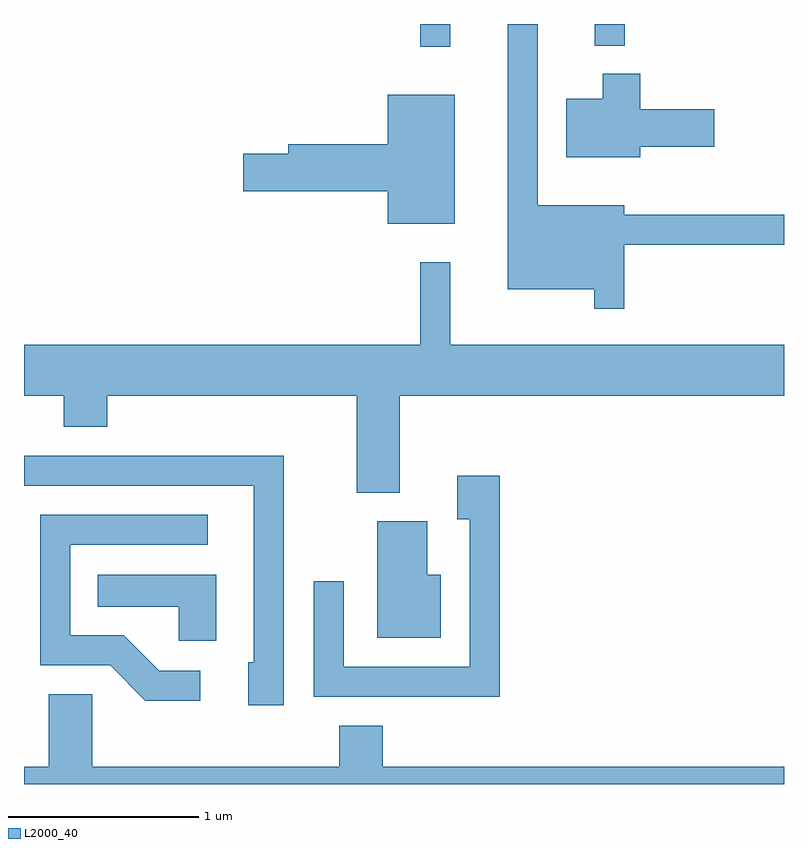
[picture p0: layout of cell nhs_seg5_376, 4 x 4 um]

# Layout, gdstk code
import gdstk
lib = gdstk.Library(unit=1e-6, precision=1e-09)
def R(c, l, rs):  # rectangles x0, y0, x1, y1
    for r in rs: c.add(gdstk.rectangle(r[:2], r[2:], *l))
def P(c, l, *ps):  # polygons
    for p in ps: c.add(gdstk.Polygon(p, *l))
L2000_40 = (2000, 40)

nhs_seg5_376 = lib.new_cell('nhs_seg5_376')
R(nhs_seg5_376, L2000_40, [(197.696,1471.953,197.854,1472.072), (198.616,1471.958,198.774,1472.072)])
P(nhs_seg5_376, L2000_40, [(198.769,1470.911),(199.611,1470.911),(199.611,1471.069),(198.769,1471.069),(198.769,1471.119),(198.314,1471.119),(198.314,1472.072),(198.156,1472.072),(198.156,1470.676),(198.611,1470.676),(198.611,1470.573),(198.769,1470.573)],
  [(198.854,1471.426),(199.244,1471.426),(199.244,1471.624),(198.854,1471.624),(198.854,1471.809),(198.656,1471.809),(198.656,1471.679),(198.466,1471.679),(198.466,1471.371),(198.854,1471.371)],
  [(197.879,1471.699),(197.526,1471.699),(197.526,1471.439),(197.001,1471.439),(197.001,1471.389),(196.766,1471.389),(196.766,1471.191),(197.526,1471.191),(197.526,1471.021),(197.879,1471.021)],
  [(197.589,1470.116),(199.611,1470.116),(199.611,1470.384),(197.854,1470.384),(197.854,1470.818),(197.696,1470.818),(197.696,1470.384),(195.611,1470.384),(195.611,1470.116),(195.821,1470.116),(195.821,1469.951),(196.049,1469.951),(196.049,1470.116),(197.361,1470.116),(197.361,1469.606),(197.589,1469.606)],
  [(196.979,1469.799),(195.611,1469.799),(195.611,1469.641),(196.821,1469.641),(196.821,1468.714),(196.791,1468.714),(196.791,1468.486),(196.979,1468.486)],
  [(198.114,1469.694),(197.891,1469.694),(197.891,1469.466),(197.956,1469.466),(197.956,1468.689),(197.294,1468.689),(197.294,1469.138),(197.136,1469.138),(197.136,1468.531),(198.114,1468.531)],
  [(196.538,1468.669),(196.322,1468.669),(196.137,1468.854),(195.854,1468.854),(195.854,1469.331),(196.578,1469.331),(196.578,1469.489),(195.696,1469.489),(195.696,1468.696),(196.064,1468.696),(196.249,1468.511),(196.538,1468.511)],
  [(197.804,1469.174),(197.734,1469.174),(197.734,1469.454),(197.471,1469.454),(197.471,1468.841),(197.804,1468.841)],
  [(196.624,1469.174),(195.998,1469.174),(195.998,1469.006),(196.426,1469.006),(196.426,1468.826),(196.624,1468.826)],
  [(199.611,1468.164),(197.499,1468.164),(197.499,1468.379),(197.271,1468.379),(197.271,1468.164),(195.969,1468.164),(195.969,1468.544),(195.741,1468.544),(195.741,1468.164),(195.611,1468.164),(195.611,1468.072),(199.611,1468.072)])

lib.write_gds('nhs_seg5_376.gds')
